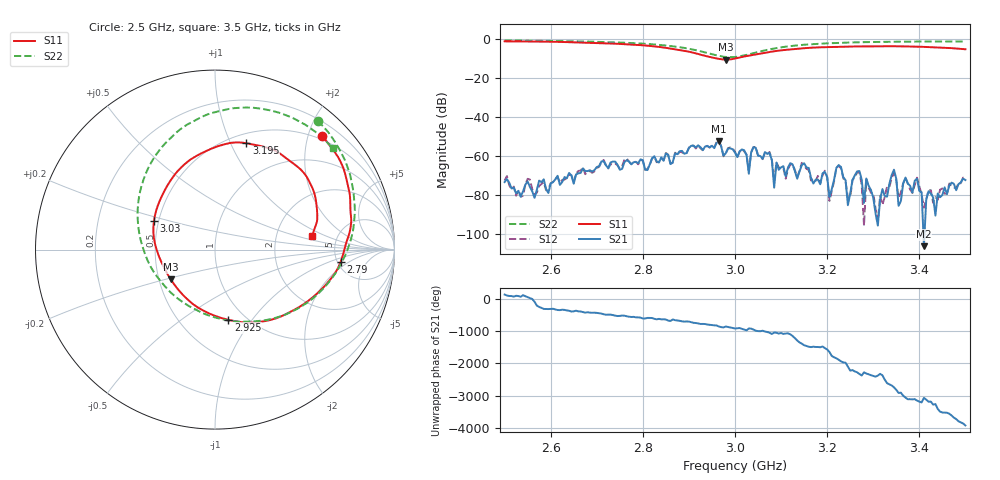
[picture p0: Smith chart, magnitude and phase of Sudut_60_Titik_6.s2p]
# Hz S RI R 50
! CMT, C1220, 16058040, 17.2.0/1
! Date: 15/08/2018 10:15:51
! Data: Format (Calibration Info)
! Freq  S11: Re/Im (F2)  S21: Re/Im (F2)  S12: Re/Im (F2)  S22: Re/Im (F2)
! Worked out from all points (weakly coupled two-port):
!   201 points, 2.5 GHz to 3.5 GHz, reference 50 ohm
!   highest |S21| = -52.36 dB at 2.965 GHz (marker M1); lowest = -106.1 dB at 3.41 GHz (marker M2)
!   lowest |S11| = -10.5 dB at 2.98 GHz (marker M3), VSWR 1.85, Z = 28.8 - j10.4 ohm
!   |S11| at or under -10 dB: 2.961 GHz to 3 GHz (39.7 MHz wide, 1.33 % of centre)
!   |S22| runs from -9.3 to -0.7 dB; largest |S21 - S12| = 0.00015
!   S11 on the Smith chart (normalised r, x): 2.5 GHz: 0.43, +2.24; 2.79 GHz: 5.34, -1.44; 2.925 GHz: 0.83, -0.77; 3.03 GHz: 0.47, +0.17; 3.195 GHz: 0.60, +1.15; 3.5 GHz: 3.23, +0.72
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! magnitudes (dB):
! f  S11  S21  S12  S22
! 2.5 GHz  -1.2  -73.2  -72.5  -0.7
! 2.67 GHz  -1.8  -66.2  -65.7  -1.3
! 2.79 GHz  -3.1  -63.6  -64.2  -2.2
! 2.835 GHz  -4.0  -63.2  -63.0  -3.0
! 2.925 GHz  -8.0  -55.4  -55.9  -6.3
! 2.965 GHz  -10.2  -52.4  -52.0  -8.6
! 2.98 GHz  -10.5  -58.5  -58.4  -9.2
! 3 GHz  -10.0  -58.1  -57.7  -9.2
! 3.03 GHz  -8.5  -69.0  -67.4  -7.9
! 3.04 GHz  -8.1  -55.4  -55.3  -7.2
! 3.075 GHz  -6.7  -58.3  -57.9  -5.3
! 3.085 GHz  -6.3  -76.1  -72.6  -4.8
! 3.09 GHz  -6.1  -63.2  -63.1  -4.6
! 3.17 GHz  -4.4  -74.0  -71.7  -2.6
! 3.195 GHz  -4.2  -68.1  -67.4  -2.3
! 3.205 GHz  -4.1  -80.8  -82.9  -2.2
! 3.225 GHz  -4.0  -64.6  -64.8  -2.0
! 3.245 GHz  -3.8  -85.1  -81.1  -1.8
! 3.265 GHz  -3.8  -67.8  -68.4  -1.7
! 3.335 GHz  -3.7  -74.1  -75.8  -1.4
! 3.41 GHz  -4.0  -106.1  -86.4  -1.3
! 3.5 GHz  -5.2  -72.2  -71.5  -1.3
